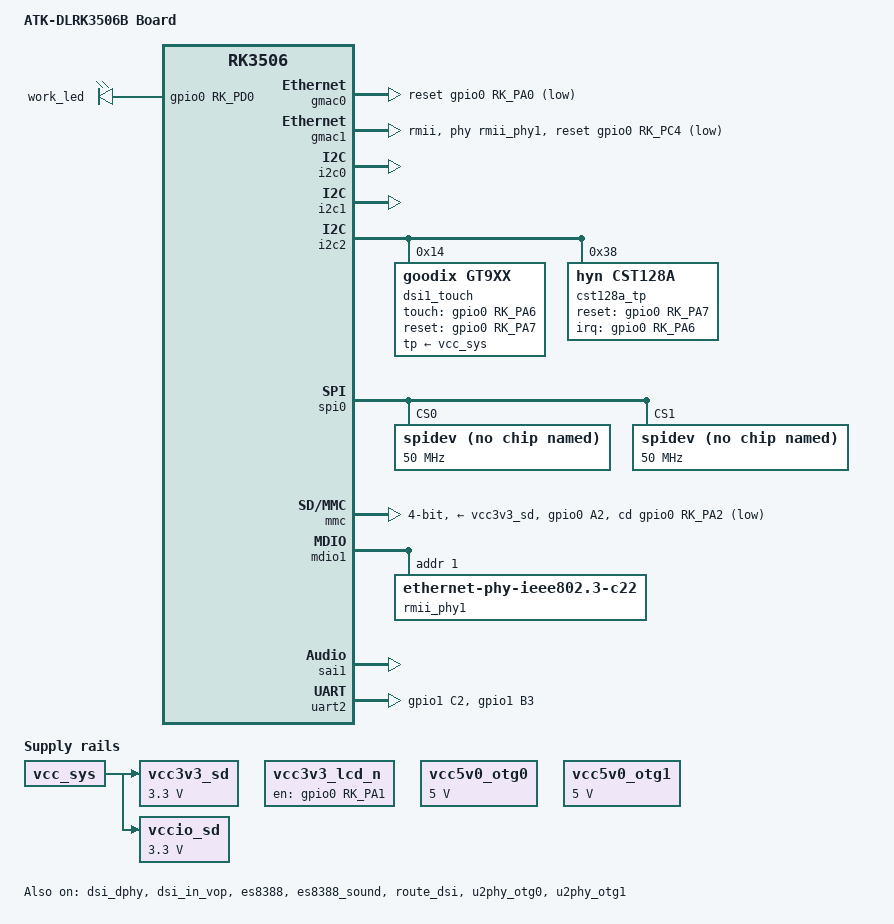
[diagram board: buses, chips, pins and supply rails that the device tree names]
#include <dt-bindings/display/drm_mipi_dsi.h>
#include <dt-bindings/input/rk-input.h>
#include <dt-bindings/suspend/rockchip-rk3506.h>

/ {

        model = "ATK-DLRK3506B Board";
        compatible = "rockchip,rk3506b-evb1-v10", "rockchip,rk3506";

        leds: leds {
                compatible = "gpio-leds";
                work_led: work {
                        gpios = <&gpio0 RK_PD0 GPIO_ACTIVE_HIGH>;
                        linux,default-trigger = "heartbeat";
                        status = "okay";
                };
        };

        vcc3v3_lcd_n: vcc3v3-lcd0-n {
                compatible = "regulator-fixed";
                enable-active-high;
                gpio = <&gpio0 RK_PA1 GPIO_ACTIVE_HIGH>;
                regulator-name = "vcc3v3_lcd_n";
                regulator-boot-on;
                regulator-state-mem {
                        regulator-off-in-suspend;
                };
        };


	vcc3v3_sd: vcc3v3-sd {
		compatible = "regulator-fixed";
		regulator-name = "vcc3v3_sd";
		regulator-always-on;
		regulator-boot-on;
		regulator-min-microvolt = <3300000>;
		regulator-max-microvolt = <3300000>;
		vin-supply = <&vcc_sys>;
	};

        vcc5v0_otg0: vcc5v0-otg0-regulator {
                compatible = "regulator-fixed";
                regulator-name = "vcc5v0_otg0";
                regulator-min-microvolt = <5000000>;
                regulator-max-microvolt = <5000000>;
                enable-active-high;
                //gpio = <&gpio1 RK_PC4 GPIO_ACTIVE_HIGH>;
                pinctrl-names = "default";
                pinctrl-0 = <&vcc5v0_otg0_en>;
        };

        vcc5v0_otg1: vcc5v0-otg1-regulator {
                compatible = "regulator-fixed";
                regulator-name = "vcc5v0_otg1";
                regulator-boot-on;
                regulator-always-on;
                regulator-min-microvolt = <5000000>;
                regulator-max-microvolt = <5000000>;
                enable-active-high;
                //gpio = <&gpio1 RK_PD0 GPIO_ACTIVE_HIGH>;
                pinctrl-names = "default";
                pinctrl-0 = <&vcc5v0_otg1_en>;
        };

	vccio_sd: vccio_sd {
		compatible = "regulator-fixed";
		regulator-name = "vccio_sd";
		regulator-always-on;
		regulator-boot-on;
		regulator-min-microvolt = <3300000>;
		regulator-max-microvolt = <3300000>;
		vin-supply = <&vcc_sys>;
	};

	wireless-bluetooth {
		status = "disabled";
	};

	wireless-wlan {
		status = "disabled";
	};
};

&adc_keys {
        status = "disabled";
};

&cma {
        size = <0x1600000>;
};

&dsi_dphy {
        status = "okay";
};

&dsi_in_vop {
        status = "okay";
};

&dsi_panel {
        power-supply = <&vcc3v3_lcd_n>;
};

&es8388 {
        status = "okay";
};

&es8388_sound {
        status = "okay";
};

&gmac0 {
        snps,reset-gpio = <&gpio0 RK_PA0 GPIO_ACTIVE_LOW>;
};

&gmac1 {
        phy-mode = "rmii";
        clock_in_out = "output";

        snps,reset-gpio = <&gpio0 RK_PC4 GPIO_ACTIVE_LOW>;
        snps,reset-active-low;
        snps,reset-delays-us = <0 20000 100000>;

        pinctrl-names = "default";
        pinctrl-0 = <&eth_rmii1_miim_pins
                     &eth_rmii1_tx_bus2_pins
                     &eth_rmii1_rx_bus2_pins
                     &eth_rmii1_clk_pins>;

        phy-handle = <&rmii_phy1>;
        status = "okay";
};

&i2c0 {
	status = "okay";
	pinctrl-names = "default";
	pinctrl-0 = <&rm_io13_i2c0_scl
		     &rm_io14_i2c0_sda>;
};

&i2c1 {
	status = "okay";
	pinctrl-names = "default";
	pinctrl-0 = <&rm_io24_i2c1_scl
		     &rm_io25_i2c1_sda>;
};

&i2c2 {
        dsi1_touch: gt9xx@14 {
                compatible = "goodix,gt9xx";
                reg = <0x14>;
                pinctrl-names = "default";
                pinctrl-0 = <&touch1_gpio>;
                touch-gpio = <&gpio0 RK_PA6 IRQ_TYPE_LEVEL_LOW>;
                reset-gpio = <&gpio0 RK_PA7 GPIO_ACTIVE_HIGH>;
                max-x = <720>;
                max-y = <1280>;
                tp-size = <911>;
                tp-supply = <&vcc_sys>;
                wakeup-source;
                goodix-ts-name = "dsi1_ts_gt9xx";
                status = "okay";
        };
    cst128a_tp@38 {
        status = "okay";
        pinctrl-0 = <&touch1_gpio>;
        compatible = "hyn,cst128a";
        reg = <0x38>;
        //power-supply = <&vcc_tp>;//change //add
        
        reset-gpios = <&gpio0 RK_PA7 GPIO_ACTIVE_HIGH>;
        irq-gpios = <&gpio0 RK_PA6 IRQ_TYPE_LEVEL_LOW>;
    };
	/delete-node/ gt1x;
};

&wake_up{
         status = "disable";
};

&sdio_pwrseq{
        status = "disable";
};

&spi0{
	status = "okay";
	pinctrl-names = "default";
	pinctrl-0 = <&spi0_csn0_pins &spi0_csn1_pins &spi0_clk_pins>;
	spidev@0{
		compatible = "rockchip,spidev";
		spi-max-frequency = <50000000>;
		reg = <0>;
	};

	spidev@1{
		compatible = "rockchip,spidev";
		spi-max-frequency = <50000000>;
		reg = <1>;
	};
};

&mmc {
	bus-width = <4>;
	cap-sd-highspeed;
	no-sdio;
	no-mmc;
	pinctrl-names = "default";
	pinctrl-0 = <&sdmmc_clk_pins &sdmmc_cmd_pins &sdmmc_bus4_pins &sdmmc_det>;
	cd-gpios = <&gpio0 RK_PA2 GPIO_ACTIVE_LOW>;
	vmmc-supply = <&vcc3v3_sd>;
	vqmmc-supply = <&vccio_sd>;
	no-1-8-v;
	status = "okay";
	/delete-property/ ignore-pm-notify;
	/delete-property/ keep-power-in-suspend;
	/delete-property/ non-removable;
	/delete-property/ mmc-pwrseq;
	/delete-property/ no-sd;
};

&mdio1 {
        rmii_phy1: phy@1 {
                compatible = "ethernet-phy-ieee802.3-c22";
                reg = <0x1>;
        };
};

&pwm0_4ch_1 {
	status = "disabled";
};

&pinctrl {

        touch1 {
                touch1_gpio: touch1-gpio {
                        rockchip,pins = <0 RK_PA6 RK_FUNC_GPIO &pcfg_pull_none>,
                                        <0 RK_PA7 RK_FUNC_GPIO &pcfg_pull_up>;
                };
        };

        sdmmc {
                /omit-if-no-ref/
                sdmmc_det: sdmmc-det {
                        rockchip,pins =
                        /* sdmmc_det */
                        <0 RK_PA2 1 &pcfg_pull_up>;
                };
        };

        uart2 {
		/omit-if-no-ref/
		uart2_xfer_pins: uart2-xfer-pins {
			rockchip,pins =
				/* uart2_rx */
				<1 RK_PC2 19 &pcfg_pull_up>,
				/* uart2_tx */
				<1 RK_PB3 18 &pcfg_pull_none>;
		};
        };

	usb {
                vcc5v0_otg0_en: vcc5v0-otg0-en {
                        rockchip,pins = <1 RK_PC4 RK_FUNC_GPIO &pcfg_pull_none>;
                };

                vcc5v0_otg1_en: vcc5v0-otg1-en {
                        rockchip,pins = <1 RK_PD0 RK_FUNC_GPIO &pcfg_pull_none>;
                };
        };

};

&route_dsi {
        status = "okay";
};

&sai1 {
        status = "okay";
};


&uart2{
	dma-names = "tx","rx";
	pinctrl-names = "default";
	pinctrl-0 = <&uart2_xfer_pins>;
	status = "okay";
};

&u2phy_otg0 {
        vbus-supply = <&vcc5v0_otg0>;
        status = "okay";
};

&u2phy_otg1 {
        phy-supply = <&vcc5v0_otg1>;
        status = "okay";
};

&uart5 {
	status = "disabled";
};

&vop_out_rgb {
        /delete-property/ remote-endpoint;
};
